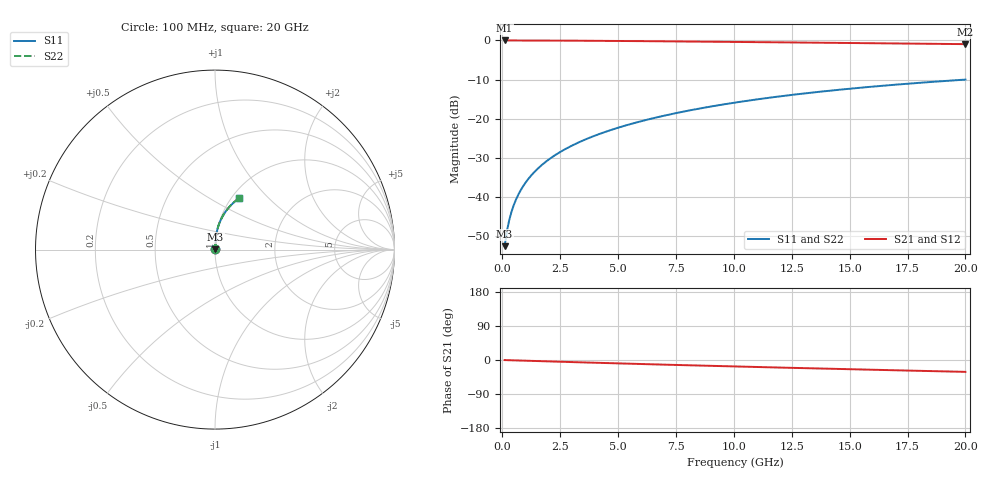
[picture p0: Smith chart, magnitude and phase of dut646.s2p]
! Touchstone file exported from HFSS 2024.1.0
!  File:  C:/UserFiles/LocalFiles/RDL_TSV_Batchsim/temp_RDL_top_646_1779781137.aedt
!  Generated:  03:41:16 PM May 26, 2026
!  Design:  RDL_top
!  Project:  temp_RDL_top_646_1779781137
!  Setup:  Setup1
!  Solution:  Sweep
! Variables:
!  dtsv = 10.80580581um
!  hbump = 3um
!  htsv = 99.67um
!  ldown = 100um
!  lrdl = 409.4um
!  p = 40
!  p1 = 54.8um
!  rhole = 1um
!  t = 450um
!  tdown = 3.915915916um
!  trdl = 4.33um
!  wdown = 15.38538539um
!  wrdl = 21.58um
# GHz S MA R 50.000000
! Terminal data exported
! Port[1] = Box2_T1
! Port[2] = Box2_T2
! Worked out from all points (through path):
!   200 points, 100 MHz to 20 GHz, reference 50 ohm
!   highest |S21| = -0.02 dB at 100 MHz (marker M1); lowest = -1.0 dB at 20 GHz (marker M2)
!   group delay of S21, straight-line fit = 4.31 ps
!   lowest |S11| = -52.6 dB at 100 MHz (marker M3), VSWR 1.00, Z = 50.2 + j0.161 ohm
!   |S11| at or under -10 dB: start of sweep to end of sweep
!   |S22| runs from -52.6 to -10.0 dB; largest |S21 - S12| = 3.5e-15
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0.1  0.002354 43.0  0.9983 -0.2  0.9983 -0.2  0.002354 43.0
! Gamma 0 0 0 0
! Port Impedance 50 0 50 0
0.2  0.003652 60.5  0.9982 -0.4  0.9982 -0.4  0.003652 60.5
0.3  0.005073 68.1  0.998 -0.6  0.998 -0.6  0.005073 68.1
0.4  0.006512 72.3  0.9979 -0.8  0.9979 -0.8  0.006512 72.3
0.5  0.007951 75.1  0.9978 -0.9  0.9978 -0.9  0.007951 75.1
0.6  0.009392 77.0  0.9977 -1.1  0.9977 -1.1  0.009391 77.0
0.8  0.01228 79.7  0.9975 -1.5  0.9975 -1.5  0.01228 79.7
1.1  0.01666 82.0  0.9971 -2.0  0.9971 -2.0  0.01666 82.0
1.5  0.02255 83.7  0.9964 -2.8  0.9964 -2.8  0.02255 83.8
1.8  0.02701 84.5  0.9957 -3.3  0.9957 -3.3  0.02701 84.5
2.1  0.03151 85.0  0.995 -3.9  0.995 -3.9  0.03151 85.0
2.7  0.04059 85.6  0.9932 -4.9  0.9932 -4.9  0.0406 85.6
3.5  0.05292 85.8  0.9903 -6.4  0.9903 -6.4  0.05292 85.8
4.2  0.0639 85.7  0.9874 -7.6  0.9874 -7.6  0.06391 85.7
5  0.07667 85.3  0.9837 -9.0  0.9837 -9.0  0.07668 85.3
5.9  0.09129 84.6  0.9792 -10.5  0.9792 -10.5  0.09131 84.6
6.8  0.1061 83.8  0.9745 -11.9  0.9745 -11.9  0.1062 83.8
8.4  0.1329 81.9  0.9656 -14.5  0.9656 -14.5  0.1329 81.9
10.1  0.1614 79.6  0.9559 -17.1  0.9559 -17.1  0.1615 79.6
13.4  0.2159 74.8  0.9365 -22.0  0.9365 -22.0  0.216 74.8
16.7  0.2677 69.8  0.9165 -26.8  0.9165 -26.8  0.2678 69.8
20  0.3157 64.9  0.8959 -31.3  0.8959 -31.3  0.3158 65.0
